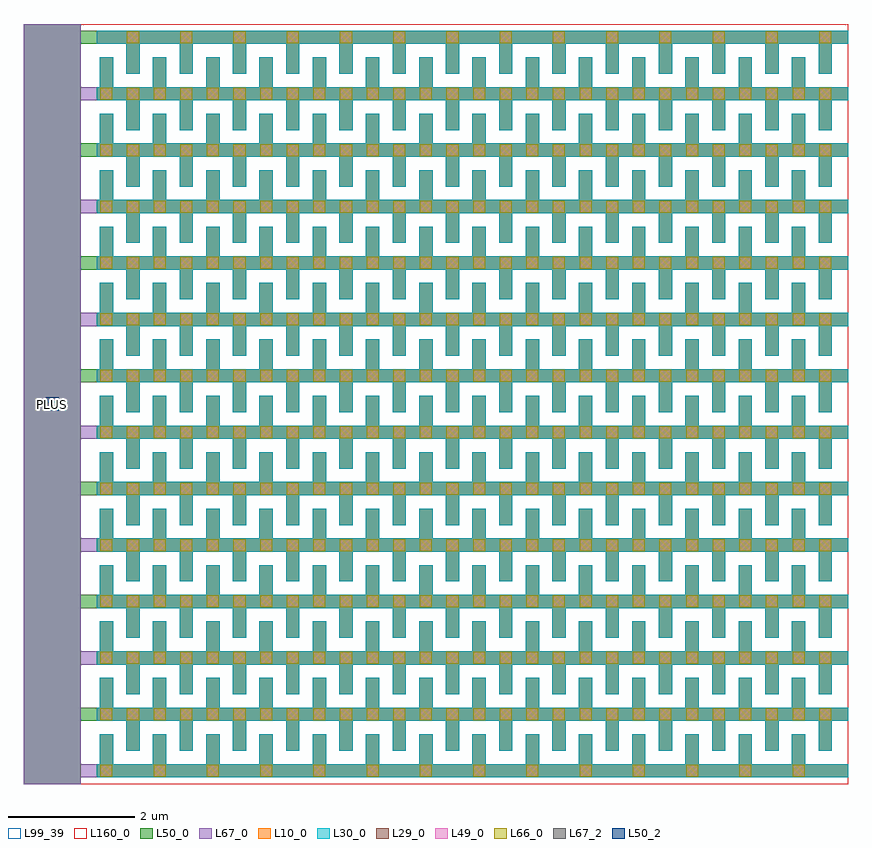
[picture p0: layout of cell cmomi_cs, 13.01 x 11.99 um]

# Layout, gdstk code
import gdstk
lib = gdstk.Library(unit=1e-6, precision=1e-09)
def R(c, l, rs):  # rectangles x0, y0, x1, y1
    for r in rs: c.add(gdstk.rectangle(r[:2], r[2:], *l))
def A(c, l, x, y, w, h, nx, ny, dx, dy):  # array of equal rectangles
    R(c, l, [(x+i*dx, y+j*dy, x+i*dx+w, y+j*dy+h) for i in range(nx) for j in range(ny)])
L10_0 = (10, 0)
L29_0 = (29, 0)
L30_0 = (30, 0)
L49_0 = (49, 0)
L50_0 = (50, 0)
L50_2 = (50, 2)
L66_0 = (66, 0)
L67_0 = (67, 0)
L67_2 = (67, 2)
L99_39 = (99, 39)
L160_0 = (160, 0)

cmomi_cs = lib.new_cell('cmomi_cs')
A(cmomi_cs, L10_0, -0.05, -0.105, 11.86, 0.21, 1, 14, 0, 0.89)
A(cmomi_cs, L10_0, 0, 0, 0.21, 0.575, 14, 13, 0.84, 0.89)
A(cmomi_cs, L10_0, 0.42, 0.315, 0.21, 0.575, 14, 13, 0.84, 0.89)
A(cmomi_cs, L29_0, 0.01, -0.095, 0.19, 0.19, 14, 1, 0.84, 0)
A(cmomi_cs, L29_0, 0.01, 0.795, 0.19, 0.19, 28, 12, 0.42, 0.89)
A(cmomi_cs, L29_0, 0.43, 11.475, 0.19, 0.19, 14, 1, 0.84, 0)
A(cmomi_cs, L30_0, -0.05, -0.105, 11.86, 0.21, 1, 14, 0, 0.89)
A(cmomi_cs, L30_0, 0, 0, 0.21, 0.575, 14, 13, 0.84, 0.89)
A(cmomi_cs, L30_0, 0.42, 0.315, 0.21, 0.575, 14, 13, 0.84, 0.89)
A(cmomi_cs, L49_0, 0.01, -0.095, 0.19, 0.19, 14, 1, 0.84, 0)
A(cmomi_cs, L49_0, 0.01, 0.795, 0.19, 0.19, 28, 12, 0.42, 0.89)
A(cmomi_cs, L49_0, 0.43, 11.475, 0.19, 0.19, 14, 1, 0.84, 0)
A(cmomi_cs, L50_0, -0.05, -0.105, 11.86, 0.21, 1, 7, 0, 1.78)
A(cmomi_cs, L50_0, 0, 0, 0.21, 0.575, 14, 13, 0.84, 0.89)
A(cmomi_cs, L50_0, 0.42, 0.315, 0.21, 0.575, 14, 13, 0.84, 0.89)
A(cmomi_cs, L50_0, -1.2, 0.785, 13.01, 0.21, 1, 7, 0, 1.78)
R(cmomi_cs, L50_0, [(-1.2,-0.21,-0.3,11.78)])
R(cmomi_cs, L50_2, [(-0.85,5.68,-0.65,5.89)])
A(cmomi_cs, L66_0, 0.01, -0.095, 0.19, 0.19, 14, 1, 0.84, 0)
A(cmomi_cs, L66_0, 0.01, 0.795, 0.19, 0.19, 28, 12, 0.42, 0.89)
A(cmomi_cs, L66_0, 0.43, 11.475, 0.19, 0.19, 14, 1, 0.84, 0)
A(cmomi_cs, L67_0, -1.2, -0.105, 13.01, 0.21, 1, 7, 0, 1.78)
A(cmomi_cs, L67_0, 0, 0, 0.21, 0.575, 14, 13, 0.84, 0.89)
A(cmomi_cs, L67_0, 0.42, 0.315, 0.21, 0.575, 14, 13, 0.84, 0.89)
A(cmomi_cs, L67_0, -0.05, 0.785, 11.86, 0.21, 1, 7, 0, 1.78)
R(cmomi_cs, L67_0, [(-1.2,-0.21,-0.3,11.78)])
R(cmomi_cs, L67_2, [(-0.85,5.68,-0.65,5.89)])
R(cmomi_cs, L99_39, [(-1.2,-0.21,11.81,11.78)])
R(cmomi_cs, L160_0, [(-1.2,-0.21,11.81,11.78)])
cmomi_cs.add(gdstk.Label('cap_cmomi C=151.390fF', (-1.2,-0.71), layer=63, texttype=0))
cmomi_cs.add(gdstk.Label('PLUS', (-0.75,5.785), layer=50, texttype=25))
cmomi_cs.add(gdstk.Label('MINUS', (-0.75,5.785), layer=67, texttype=25))

lib.write_gds('cmomi_cs.gds')
